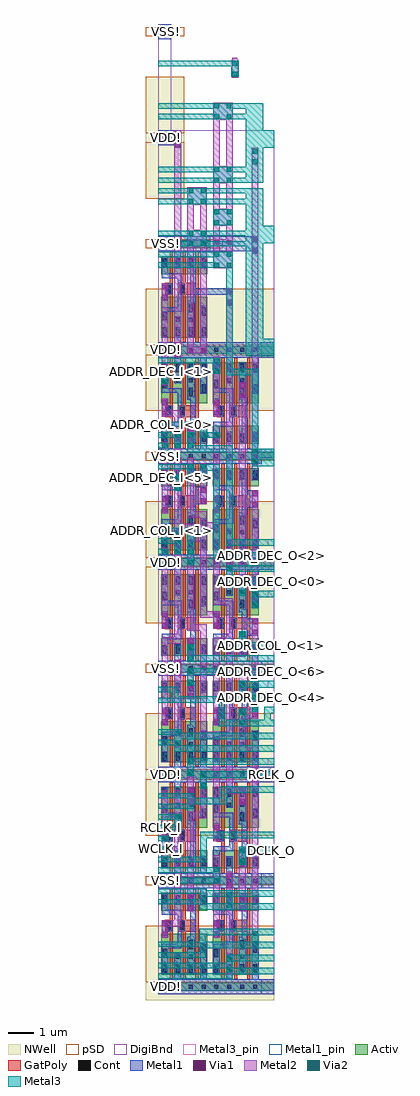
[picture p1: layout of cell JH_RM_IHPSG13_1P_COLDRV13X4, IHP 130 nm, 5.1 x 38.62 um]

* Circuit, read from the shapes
.subckt JH_RM_IHPSG13_1P_COLDRV13X4 ADDR_COL_I<0> ADDR_COL_I<1> ADDR_COL_O<0> ADDR_COL_O<1> ADDR_DEC_I<0> ADDR_DEC_I<1> ADDR_DEC_I<2> ADDR_DEC_I<3> ADDR_DEC_I<4> ADDR_DEC_I<5> ADDR_DEC_I<6> ADDR_DEC_I<7> ADDR_DEC_O<0> ADDR_DEC_O<1> ADDR_DEC_O<2> ADDR_DEC_O<3> ADDR_DEC_O<4> ADDR_DEC_O<5> ADDR_DEC_O<6> ADDR_DEC_O<7> DCLK_I DCLK_O RCLK_I RCLK_O VDD! VSS! WCLK_I WCLK_O
XM1 VSS! RCLK_I n1 VSS! sg13_lv_nmos w=0.705u l=0.13u
XM2 VSS! WCLK_I n2 VSS! sg13_lv_nmos w=0.705u l=0.13u
XM3 VSS! ADDR_DEC_I<6> n3 VSS! sg13_lv_nmos w=0.705u l=0.13u
XM4 VSS! ADDR_DEC_I<7> n4 VSS! sg13_lv_nmos w=0.705u l=0.13u
XM5 VSS! ADDR_DEC_I<2> n5 VSS! sg13_lv_nmos w=0.705u l=0.13u
XM6 VSS! ADDR_DEC_I<3> n6 VSS! sg13_lv_nmos w=0.705u l=0.13u
XM7 VSS! ADDR_DEC_I<1> n7 VSS! sg13_lv_nmos w=0.705u l=0.13u
XM8 RCLK_O n1 VSS! VSS! sg13_lv_nmos w=0.705u l=0.13u m=2
XM9 WCLK_O n2 VSS! VSS! sg13_lv_nmos w=0.705u l=0.13u m=2
XM10 ADDR_DEC_O<6> n3 VSS! VSS! sg13_lv_nmos w=0.705u l=0.13u m=2
XM11 ADDR_DEC_O<7> n4 VSS! VSS! sg13_lv_nmos w=0.705u l=0.13u m=2
XM12 ADDR_DEC_O<2> n5 VSS! VSS! sg13_lv_nmos w=0.705u l=0.13u m=2
XM13 ADDR_DEC_O<3> n6 VSS! VSS! sg13_lv_nmos w=0.705u l=0.13u m=2
XM14 ADDR_DEC_O<1> n7 VSS! VSS! sg13_lv_nmos w=0.705u l=0.13u m=2
XM15 VSS! DCLK_I n8 VSS! sg13_lv_nmos w=0.705u l=0.13u
XM16 VSS! ADDR_COL_I<1> n9 VSS! sg13_lv_nmos w=0.705u l=0.13u
XM17 VSS! ADDR_DEC_I<4> n10 VSS! sg13_lv_nmos w=0.705u l=0.13u
XM18 VSS! ADDR_DEC_I<5> n11 VSS! sg13_lv_nmos w=0.705u l=0.13u
XM19 VSS! ADDR_COL_I<0> n12 VSS! sg13_lv_nmos w=0.705u l=0.13u
XM20 VSS! ADDR_DEC_I<0> n13 VSS! sg13_lv_nmos w=0.705u l=0.13u
XM21 DCLK_O n8 VSS! VSS! sg13_lv_nmos w=0.705u l=0.13u m=2
XM22 ADDR_COL_O<1> n9 VSS! VSS! sg13_lv_nmos w=0.705u l=0.13u m=2
XM23 ADDR_DEC_O<4> n10 VSS! VSS! sg13_lv_nmos w=0.705u l=0.13u m=2
XM24 ADDR_DEC_O<5> n11 VSS! VSS! sg13_lv_nmos w=0.705u l=0.13u m=2
XM25 ADDR_COL_O<0> n12 VSS! VSS! sg13_lv_nmos w=0.705u l=0.13u m=2
XM26 ADDR_DEC_O<0> n13 VSS! VSS! sg13_lv_nmos w=0.705u l=0.13u m=2
XM27 VDD! RCLK_I n1 VDD! sg13_lv_pmos w=1.62u l=0.13u
XM28 VDD! WCLK_I n2 VDD! sg13_lv_pmos w=1.62u l=0.13u
XM29 VDD! ADDR_DEC_I<6> n3 VDD! sg13_lv_pmos w=1.62u l=0.13u
XM30 VDD! ADDR_DEC_I<7> n4 VDD! sg13_lv_pmos w=1.62u l=0.13u
XM31 VDD! ADDR_DEC_I<2> n5 VDD! sg13_lv_pmos w=1.62u l=0.13u
XM32 VDD! ADDR_DEC_I<3> n6 VDD! sg13_lv_pmos w=1.62u l=0.13u
XM33 VDD! ADDR_DEC_I<1> n7 VDD! sg13_lv_pmos w=1.62u l=0.13u
XM34 RCLK_O n1 VDD! VDD! sg13_lv_pmos w=1.62u l=0.13u m=2
XM35 WCLK_O n2 VDD! VDD! sg13_lv_pmos w=1.62u l=0.13u m=2
XM36 ADDR_DEC_O<6> n3 VDD! VDD! sg13_lv_pmos w=1.62u l=0.13u m=2
XM37 ADDR_DEC_O<7> n4 VDD! VDD! sg13_lv_pmos w=1.62u l=0.13u m=2
XM38 ADDR_DEC_O<2> n5 VDD! VDD! sg13_lv_pmos w=1.62u l=0.13u m=2
XM39 ADDR_DEC_O<3> n6 VDD! VDD! sg13_lv_pmos w=1.62u l=0.13u m=2
XM40 ADDR_DEC_O<1> n7 VDD! VDD! sg13_lv_pmos w=1.62u l=0.13u m=2
XM41 VDD! DCLK_I n8 VDD! sg13_lv_pmos w=1.62u l=0.13u
XM42 VDD! ADDR_COL_I<1> n9 VDD! sg13_lv_pmos w=1.62u l=0.13u
XM43 VDD! ADDR_DEC_I<4> n10 VDD! sg13_lv_pmos w=1.62u l=0.13u
XM44 VDD! ADDR_DEC_I<5> n11 VDD! sg13_lv_pmos w=1.62u l=0.13u
XM45 VDD! ADDR_COL_I<0> n12 VDD! sg13_lv_pmos w=1.62u l=0.13u
XM46 VDD! ADDR_DEC_I<0> n13 VDD! sg13_lv_pmos w=1.62u l=0.13u
XM47 DCLK_O n8 VDD! VDD! sg13_lv_pmos w=1.62u l=0.13u m=2
XM48 ADDR_COL_O<1> n9 VDD! VDD! sg13_lv_pmos w=1.62u l=0.13u m=2
XM49 ADDR_DEC_O<4> n10 VDD! VDD! sg13_lv_pmos w=1.62u l=0.13u m=2
XM50 ADDR_DEC_O<5> n11 VDD! VDD! sg13_lv_pmos w=1.62u l=0.13u m=2
XM51 ADDR_COL_O<0> n12 VDD! VDD! sg13_lv_pmos w=1.62u l=0.13u m=2
XM52 ADDR_DEC_O<0> n13 VDD! VDD! sg13_lv_pmos w=1.62u l=0.13u m=2
.ends

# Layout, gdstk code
from math import pi, radians
import gdstk
lib = gdstk.Library(unit=1e-6, precision=1e-09)
def R(c, l, rs):  # rectangles x0, y0, x1, y1
    for r in rs: c.add(gdstk.rectangle(r[:2], r[2:], *l))
def A(c, l, x, y, w, h, nx, ny, dx, dy):  # array of equal rectangles
    R(c, l, [(x+i*dx, y+j*dy, x+i*dx+w, y+j*dy+h) for i in range(nx) for j in range(ny)])
def P(c, l, *ps):  # polygons
    for p in ps: c.add(gdstk.Polygon(p, *l))
Activ = (1, 0)
GatPoly = (5, 0)
Cont = (6, 0)
Metal1 = (8, 0)
Metal1_pin = (8, 2)
Metal2 = (10, 0)
pSD = (14, 0)
DigiBnd = (16, 0)
Via1 = (19, 0)
Via2 = (29, 0)
Metal3 = (30, 0)
Metal3_pin = (30, 2)
NWell = (31, 0)

jh_rsc_ihpsg13_fill1 = lib.new_cell('JH_RSC_IHPSG13_FILL1')
R(jh_rsc_ihpsg13_fill1, Activ, [(0,-0.15,0.51,0.15), (0,4.05,0.51,4.35)])
R(jh_rsc_ihpsg13_fill1, Cont, [(0.175,-0.08,0.335,0.08), (0.175,4.12,0.335,4.28)])
R(jh_rsc_ihpsg13_fill1, Metal1, [(0,-0.3,0.51,0.3), (0,3.9,0.51,4.5)])
R(jh_rsc_ihpsg13_fill1, Metal1_pin, [(0,-0.3,0.51,0.3), (0,3.9,0.51,4.5)])
R(jh_rsc_ihpsg13_fill1, pSD, [(-0.51,-0.18,1.02,0.18), (-0.51,1.785,1.02,4.02)])
R(jh_rsc_ihpsg13_fill1, DigiBnd, [(0,-0.3,0.51,4.5)])
R(jh_rsc_ihpsg13_fill1, NWell, [(-0.51,1.785,1.02,4.725)])
jh_rsc_ihpsg13_fill1.add(gdstk.Label('VSS!', (0.26,0.01), layer=8, texttype=2))
jh_rsc_ihpsg13_fill1.add(gdstk.Label('VDD!', (0.255,4.2), layer=8, texttype=2))

jh_rsc_ihpsg13_cbufx4 = lib.new_cell('JH_RSC_IHPSG13_CBUFX4')
R(jh_rsc_ihpsg13_cbufx4, Activ, [(0,-0.15,2.04,0.15), (0.105,0.49,1.935,1.195), (0.105,2.1,1.935,3.72), (0,4.05,2.04,4.35)])
P(jh_rsc_ihpsg13_cbufx4, GatPoly, [(0.445,0.3),(0.445,1.54),(0.26,1.54),(0.26,2.02),(0.445,2.02),(0.445,3.9),(0.575,3.9),(0.575,0.3)],
  [(0.955,0.3),(0.955,1.54),(0.77,1.54),(0.77,2.02),(0.955,2.02),(0.955,3.9),(1.085,3.9),(1.085,2.02),(1.465,2.02),(1.465,3.9),(1.595,3.9),(1.595,0.3),(1.465,0.3),(1.465,1.54),(1.085,1.54),(1.085,0.3)])
A(jh_rsc_ihpsg13_cbufx4, Cont, 0.175, -0.08, 0.16, 0.16, 4, 2, 0.51, 4.2)
A(jh_rsc_ihpsg13_cbufx4, Cont, 0.175, 0.57, 0.16, 0.34, 4, 2, 0.51, 2.74)
R(jh_rsc_ihpsg13_cbufx4, Cont, [(0.33,1.61,0.49,1.95), (0.84,1.61,1,1.95), (1.195,2.37,1.355,2.71), (1.705,2.51,1.865,2.85), (0.175,2.69,0.335,3.03), (0.685,2.93,0.845,3.09), (1.195,2.93,1.355,3.09)])
R(jh_rsc_ihpsg13_cbufx4, Metal1, [(0.28,1.56,0.54,2)])
P(jh_rsc_ihpsg13_cbufx4, Metal1, [(0.125,0.52),(0.125,1.36),(0.76,1.36),(0.76,2.5),(0.125,2.5),(0.125,3.7),(0.385,3.7),(0.385,2.68),(0.93,2.68),(0.93,2.01),(1.05,2.01),(1.05,1.56),(0.93,1.56),(0.93,1.16),(0.385,1.16),(0.385,0.52)],
  [(1.145,0.52),(1.145,0.96),(1.26,0.96),(1.26,2.23),(1.145,2.23),(1.145,3.7),(1.435,3.7),(1.435,2.34),(1.47,2.34),(1.47,0.52)],
  [(0,-0.3),(0,0.3),(0.635,0.3),(0.635,0.96),(0.895,0.96),(0.895,0.3),(1.655,0.3),(1.655,0.96),(1.915,0.96),(1.915,0.3),(2.04,0.3),(2.04,-0.3)],
  [(1.655,2.46),(1.655,3.9),(0.895,3.9),(0.895,2.88),(0.635,2.88),(0.635,3.9),(0,3.9),(0,4.5),(2.04,4.5),(2.04,3.9),(1.92,3.9),(1.92,2.46)])
R(jh_rsc_ihpsg13_cbufx4, Metal1_pin, [(0,-0.3,2.04,0.3), (1.26,0.52,1.47,2.34), (0.28,1.56,0.54,2), (0,3.9,2.04,4.5)])
R(jh_rsc_ihpsg13_cbufx4, pSD, [(-0.51,-0.18,2.55,0.18), (-0.51,1.785,2.55,4.02)])
R(jh_rsc_ihpsg13_cbufx4, DigiBnd, [(0,-0.3,2.04,4.5)])
R(jh_rsc_ihpsg13_cbufx4, NWell, [(-0.51,1.785,2.55,4.725)])
jh_rsc_ihpsg13_cbufx4.add(gdstk.Label('A', (0.41,1.77), layer=8, texttype=2))
jh_rsc_ihpsg13_cbufx4.add(gdstk.Label('Z', (1.365,1.995), layer=8, texttype=2))
jh_rsc_ihpsg13_cbufx4.add(gdstk.Label('VSS!', (1.155,0.005), layer=8, texttype=2))
jh_rsc_ihpsg13_cbufx4.add(gdstk.Label('VDD!', (0.84,4.2), layer=8, texttype=2))

jh_m2_m1_cdns_7564811692 = lib.new_cell('JH_M2_M1_CDNS_756481169253')
R(jh_m2_m1_cdns_7564811692, Metal1, [(-0.35,-0.13,0.35,0.13)])
R(jh_m2_m1_cdns_7564811692, Metal2, [(-0.35,-0.13,0.35,0.13)])
R(jh_m2_m1_cdns_7564811692, Via1, [(-0.3,-0.095,-0.11,0.095), (0.11,-0.095,0.3,0.095)])

c_jh_m2_m1_cdns_7564811692 = lib.new_cell('JH_M2_M1_CDNS_756481169250')
R(c_jh_m2_m1_cdns_7564811692, Metal1, [(-0.385,-0.13,0.385,0.13)])
R(c_jh_m2_m1_cdns_7564811692, Metal2, [(-0.385,-0.13,0.385,0.13)])
R(c_jh_m2_m1_cdns_7564811692, Via1, [(-0.335,-0.095,-0.145,0.095), (0.145,-0.095,0.335,0.095)])

jh_viagen23_cdns_7564811 = lib.new_cell('JH_viagen23_CDNS_756481169251')
R(jh_viagen23_cdns_7564811, Metal2, [(-0.385,-0.34,0.385,0.34)])
R(jh_viagen23_cdns_7564811, Via2, [(-0.335,-0.305,-0.145,-0.115), (0.145,-0.305,0.335,-0.115), (-0.335,0.115,-0.145,0.305), (0.145,0.115,0.335,0.305)])
R(jh_viagen23_cdns_7564811, Metal3, [(-0.385,-0.315,0.385,0.315)])

jh_m3_m2_cdns_7564811692 = lib.new_cell('JH_M3_M2_CDNS_7564811692512')
R(jh_m3_m2_cdns_7564811692, Metal2, [(-0.35,-0.13,0.35,0.13)])
R(jh_m3_m2_cdns_7564811692, Via2, [(-0.3,-0.095,-0.11,0.095), (0.11,-0.095,0.3,0.095)])
R(jh_m3_m2_cdns_7564811692, Metal3, [(-0.35,-0.13,0.35,0.13)])

c_jh_m3_m2_cdns_7564811692 = lib.new_cell('JH_M3_M2_CDNS_7564811692513')
R(c_jh_m3_m2_cdns_7564811692, Metal2, [(-0.385,-0.13,0.385,0.13)])
R(c_jh_m3_m2_cdns_7564811692, Via2, [(-0.3,-0.095,-0.11,0.095), (0.11,-0.095,0.3,0.095)])
R(c_jh_m3_m2_cdns_7564811692, Metal3, [(-0.385,-0.13,0.385,0.13)])

c_jh_viagen23_cdns_7564811 = lib.new_cell('JH_viagen23_CDNS_7564811692514')
R(c_jh_viagen23_cdns_7564811, Metal2, [(-0.105,-0.35,0.105,0.35)])
R(c_jh_viagen23_cdns_7564811, Via2, [(-0.095,-0.3,0.095,-0.11), (-0.095,0.11,0.095,0.3)])
R(c_jh_viagen23_cdns_7564811, Metal3, [(-0.105,-0.35,0.105,0.35)])

c_jh_m3_m2_cdns_7564811692_ = lib.new_cell('JH_M3_M2_CDNS_7564811692515')
R(c_jh_m3_m2_cdns_7564811692_, Metal2, [(-0.355,-0.13,0.355,0.13)])
R(c_jh_m3_m2_cdns_7564811692_, Via2, [(-0.305,-0.095,-0.115,0.095), (0.115,-0.095,0.305,0.095)])
R(c_jh_m3_m2_cdns_7564811692_, Metal3, [(-0.315,-0.145,0.315,0.145)])

jh_rm_ihpsg13_1p_coldrv1 = lib.new_cell('JH_RM_IHPSG13_1P_COLDRV13X4')
A(jh_rm_ihpsg13_1p_coldrv1, Activ, 4.08, -37.95, 0.51, 0.3, 1, 7, 0, 4.2)
A(jh_rm_ihpsg13_1p_coldrv1, Metal1, 4.08, -38.1, 0.51, 0.6, 1, 4, 0, 4.2)
R(jh_rm_ihpsg13_1p_coldrv1, Metal1, [(3.51,-27.19,3.695,-26.49), (3.51,-23.91,3.695,-23.21), (4.075,-21.3,4.59,-20.7), (3.51,-18.85,3.955,-18.15), (1.47,-18.71,1.655,-18.01), (4.075,-16.86,4.59,-16.5), (4.08,-12.9,4.59,-12.3), (1.47,-10.41,2.935,-10.16), (2.04,-8.7,3.955,-8.1), (0,-4.5,0.895,-3.9)])
A(jh_rm_ihpsg13_1p_coldrv1, Metal1_pin, 0, -38.1, 0.6, 0.6, 1, 9, 0, 4.2)
R(jh_rm_ihpsg13_1p_coldrv1, Metal1_pin, [(0,-0.3,0.51,0.3)])
R(jh_rm_ihpsg13_1p_coldrv1, Metal2, [(2.675,-37.3,2.935,-33.585), (2.165,-35.86,2.425,-32.595), (3.185,-34.82,3.445,-32.27), (2.675,-34.75,2.935,-33.25), (0.125,-32.04,0.385,-30.03), (1.145,-30.6,1.405,-28.76), (0.635,-28.315,0.895,-25.55), (3.695,-27.19,3.955,-26.21), (1.145,-26.42,1.405,-25.19), (1.145,-24.94,1.405,-23.98), (0.125,-23.64,0.385,-20.435), (3.695,-22.83,3.955,-18.15), (3.185,-22.32,3.445,-13.87), (2.675,-21.81,2.935,-10.16), (0.125,-19.06,0.385,-16.485), (1.655,-18.71,1.915,-17.075), (3.695,-17.15,3.955,-4.6), (1.145,-16.525,1.405,-15.58), (2.165,-15.24,2.425,-12.875), (0.125,-14.005,0.385,-9.96), (1.145,-12.73,1.405,-6.17), (1.655,-12.73,1.915,-6.17), (0.635,-12.25,0.895,-3.9), (2.165,-9.37,2.425,-2.81), (2.675,-9.37,2.935,-2.81), (2.925,-1.365,3.125,-1.035)])
P(jh_rm_ihpsg13_1p_coldrv1, Metal2, [(0.635,-16.525),(0.635,-15.24),(0.125,-15.24),(0.125,-14.54),(0.385,-14.54),(0.385,-14.99),(0.895,-14.99),(0.895,-16.525)],
  [(0.125,-27.46),(0.125,-23.965),(0.635,-23.965),(0.635,-20.015),(0.895,-20.015),(0.895,-24.225),(0.385,-24.225),(0.385,-27.46)],
  [(0.125,-35.42),(0.125,-35.16),(0.635,-35.16),(0.635,-30.03),(0.895,-30.03),(0.895,-35.42)],
  [(1.145,-34.82),(1.145,-30.88),(1.655,-30.88),(1.655,-29.27),(1.915,-29.27),(1.915,-31.14),(1.405,-31.14),(1.405,-34.82)],
  [(2.165,-23.64),(2.165,-23.2),(1.655,-23.2),(1.655,-20.185),(1.145,-20.185),(1.145,-19.745),(0.635,-19.745),(0.635,-16.86),(0.895,-16.86),(0.895,-19.485),(1.405,-19.485),(1.405,-19.925),(1.915,-19.925),(1.915,-22.94),(2.425,-22.94),(2.425,-23.64)],
  [(2.165,-32.04),(2.165,-27.97),(1.655,-27.97),(1.655,-23.71),(1.145,-23.71),(1.145,-20.435),(1.405,-20.435),(1.405,-23.45),(1.915,-23.45),(1.915,-27.71),(2.425,-27.71),(2.425,-32.04)],
  [(2.165,-19.06),(2.165,-16.065),(1.74,-16.065),(1.74,-15.855),(2.44,-15.855),(2.44,-16.065),(2.425,-16.065),(2.425,-19.06)],
  [(2.165,-27.46),(2.165,-23.98),(2.675,-23.98),(2.675,-22.69),(2.165,-22.69),(2.165,-19.675),(1.655,-19.675),(1.655,-19.235),(1.145,-19.235),(1.145,-16.86),(1.405,-16.86),(1.405,-18.975),(1.915,-18.975),(1.915,-19.415),(2.425,-19.415),(2.425,-22.43),(2.935,-22.43),(2.935,-24.24),(2.425,-24.24),(2.425,-27.46)],
  [(3.695,-36.28),(3.695,-28.51),(3.185,-28.51),(3.185,-27.49),(3.445,-27.49),(3.445,-28.25),(3.955,-28.25),(3.955,-36.28)],
  [(3.185,-25.705),(3.185,-25.445),(3.695,-25.445),(3.695,-23.21),(3.955,-23.21),(3.955,-25.705)],
  [(2.675,-30.16),(2.675,-24.49),(3.185,-24.49),(3.185,-23.73),(3.445,-23.73),(3.445,-24.75),(2.935,-24.75),(2.935,-29.9),(3.185,-29.9),(3.185,-30.16)])
R(jh_rm_ihpsg13_1p_coldrv1, pSD, [(2.55,-12.42,4.59,-10.185)])
R(jh_rm_ihpsg13_1p_coldrv1, DigiBnd, [(0,-38.1,4.59,-3.9)])
R(jh_rm_ihpsg13_1p_coldrv1, Metal3, [(0,-33.705,2.425,-33.495), (0,-33.285,2.425,-33.075), (3.185,-32.53,4.59,-32.27), (0,-32.445,0.385,-32.235), (0,-32.025,0.385,-31.815), (0,-31.605,0.895,-31.395), (0,-31.185,0.895,-30.975), (1.655,-29.53,4.59,-29.27), (1.145,-29.02,4.59,-28.76), (3.695,-26.47,4.59,-26.21), (3.185,-25.96,4.59,-25.7), (1.145,-25.45,4.59,-25.19), (1.145,-24.94,4.59,-24.68), (3.185,-24.43,4.59,-24.17), (3.695,-22.39,4.59,-22.13), (3.185,-21.88,4.59,-21.62), (2.675,-21.37,4.59,-21.11), (0,-20.685,0.385,-20.475), (0,-20.265,0.895,-20.055), (0,-17.745,0.895,-17.535), (0,-17.325,1.405,-17.115), (0,-16.485,0.385,-16.275), (0,-16.065,0.91,-15.855), (0,-13.545,0.385,-13.335), (0,-13.125,2.425,-12.915), (0,-1.365,3.125,-1.155)])
P(jh_rm_ihpsg13_1p_coldrv1, Metal3, [(1.13,-20.475),(1.13,-19.845),(0,-19.845),(0,-19.635),(1.42,-19.635),(1.42,-20.475)],
  [(1.64,-16.065),(1.64,-15.645),(0,-15.645),(0,-15.435),(1.93,-15.435),(1.93,-16.065)],
  [(0,-5.985),(0,-5.775),(3.45,-5.775),(3.45,-5.565),(0,-5.565),(0,-5.355),(3.45,-5.355),(3.45,-3.465),(0,-3.465),(0,-3.255),(3.45,-3.255),(3.45,-3.045),(0,-3.045),(0,-2.835),(4.15,-2.835),(4.15,-3.9),(4.59,-3.9),(4.59,-4.6),(4.15,-4.6),(4.15,-5.985)],
  [(3.45,-12.855),(3.45,-8.505),(0,-8.505),(0,-8.295),(3.45,-8.295),(3.45,-8.085),(0,-8.085),(0,-7.875),(3.45,-7.875),(3.45,-6.825),(0,-6.825),(0,-6.615),(3.45,-6.615),(3.45,-6.405),(0,-6.405),(0,-6.195),(4.15,-6.195),(4.15,-7.675),(4.59,-7.675),(4.59,-8.375),(4.15,-8.375),(4.15,-12.155),(4.59,-12.155),(4.59,-12.855)],
  [(3.695,-17.2),(3.695,-13.61),(2.675,-13.61),(2.675,-9.345),(0,-9.345),(0,-9.135),(2.165,-9.135),(2.165,-8.925),(0,-8.925),(0,-8.715),(2.675,-8.715),(2.675,-8.925),(2.425,-8.925),(2.425,-9.135),(2.675,-9.135),(2.675,-8.715),(2.935,-8.715),(2.935,-13.35),(3.955,-13.35),(3.955,-16.5),(4.59,-16.5),(4.59,-17.2)],
  [(2.675,-20.35),(2.675,-16.64),(1.13,-16.64),(1.13,-16.485),(1.42,-16.485),(1.42,-16.38),(2.935,-16.38),(2.935,-20.09),(4.59,-20.09),(4.59,-20.35)],
  [(2.165,-20.86),(2.165,-17.375),(1.64,-17.375),(1.64,-17.115),(2.425,-17.115),(2.425,-20.6),(4.59,-20.6),(4.59,-20.86)],
  [(2.385,-27.49),(2.385,-26.565),(0,-26.565),(0,-26.355),(0.515,-26.355),(0.515,-26.145),(0,-26.145),(0,-25.935),(0.775,-25.935),(0.775,-26.305),(2.645,-26.305),(2.645,-27.23),(4.18,-27.23),(4.18,-26.72),(4.59,-26.72),(4.59,-26.98),(4.44,-26.98),(4.44,-27.23),(4.59,-27.23),(4.59,-27.49)],
  [(0.635,-28.51),(0.635,-28.245),(0,-28.245),(0,-28.035),(0.635,-28.035),(0.635,-27.825),(0,-27.825),(0,-27.615),(0.895,-27.615),(0.895,-27.74),(4.59,-27.74),(4.59,-28),(0.895,-28),(0.895,-28.25),(4.59,-28.25),(4.59,-28.51)],
  [(0,-36.645),(0,-36.435),(1.61,-36.435),(1.61,-36.225),(0,-36.225),(0,-36.015),(1.61,-36.015),(1.61,-35.51),(4.59,-35.51),(4.59,-35.77),(1.87,-35.77),(1.87,-36.02),(4.59,-36.02),(4.59,-36.28),(1.87,-36.28),(1.87,-36.645)],
  [(1.61,-34.75),(1.61,-34.545),(0,-34.545),(0,-34.335),(1.61,-34.335),(1.61,-34.125),(0,-34.125),(0,-33.915),(1.87,-33.915),(1.87,-33.98),(4.59,-33.98),(4.59,-34.24),(1.87,-34.24),(1.87,-34.49),(4.59,-34.49),(4.59,-34.75)],
  [(0,-32.865),(0,-32.655),(1.655,-32.655),(1.655,-31.67),(4.59,-31.67),(4.59,-31.93),(1.915,-31.93),(1.915,-32.865)],
  [(0,-30.765),(0,-30.555),(1.145,-30.555),(1.145,-30.345),(0,-30.345),(0,-30.135),(1.405,-30.135),(1.405,-30.32),(2.465,-30.32),(2.465,-29.87),(4.59,-29.87),(4.59,-30.13),(2.725,-30.13),(2.725,-30.58),(1.405,-30.58),(1.405,-30.765)],
  [(0,-37.485),(0,-37.275),(2.675,-37.275),(2.675,-37.065),(0,-37.065),(0,-36.855),(2.675,-36.855),(2.675,-36.53),(4.59,-36.53),(4.59,-36.79),(2.935,-36.79),(2.935,-37.04),(4.59,-37.04),(4.59,-37.3),(2.935,-37.3),(2.935,-37.485)])
A(jh_rm_ihpsg13_1p_coldrv1, Metal3_pin, 4.33, -26.47, 0.26, 0.26, 1, 5, 0, 0.51)
A(jh_rm_ihpsg13_1p_coldrv1, Metal3_pin, 4.33, -22.39, 0.26, 0.26, 1, 5, 0, 0.51)
A(jh_rm_ihpsg13_1p_coldrv1, Metal3_pin, 0, -20.685, 0.26, 0.21, 1, 3, 0, 0.42)
A(jh_rm_ihpsg13_1p_coldrv1, Metal3_pin, 0, -16.485, 0.26, 0.21, 1, 3, 0, 0.42)
R(jh_rm_ihpsg13_1p_coldrv1, Metal3_pin, [(0,-33.705,0.26,-33.495), (4.33,-32.53,4.59,-32.27), (0,-32.445,0.26,-32.235), (0,-31.605,0.26,-31.395), (4.33,-29.53,4.59,-29.27), (4.33,-29.02,4.59,-28.76), (0,-17.745,0.26,-17.535), (0,-17.325,0.26,-17.115), (0,-13.545,0.26,-13.335), (0,-13.125,0.26,-12.915)])
R(jh_rm_ihpsg13_1p_coldrv1, NWell, [(2.55,-12.075,4.59,-10.185)])
r = gdstk.Reference(jh_rsc_ihpsg13_fill1, (0,0), x_reflection=True); r.repetition = gdstk.Repetition(1, 1, v1=(0,0), v2=(0,0)); jh_rm_ihpsg13_1p_coldrv1.add(r)
r = gdstk.Reference(jh_rsc_ihpsg13_fill1, (0,-8.4)); r.repetition = gdstk.Repetition(1, 1, v1=(0,0), v2=(0,0)); jh_rm_ihpsg13_1p_coldrv1.add(r)
r = gdstk.Reference(jh_rsc_ihpsg13_cbufx4, (0,-16.8), x_reflection=True); r.repetition = gdstk.Repetition(2, 3, v1=(2.04,0), v2=(0,-8.4)); jh_rm_ihpsg13_1p_coldrv1.add(r)
r = gdstk.Reference(jh_rsc_ihpsg13_cbufx4, (0,-8.4), x_reflection=True); r.repetition = gdstk.Repetition(1, 1, v1=(0,0), v2=(0,0)); jh_rm_ihpsg13_1p_coldrv1.add(r)
r = gdstk.Reference(jh_rsc_ihpsg13_cbufx4, (0,-33.6)); r.repetition = gdstk.Repetition(2, 3, v1=(2.04,0), v2=(0,8.4)); jh_rm_ihpsg13_1p_coldrv1.add(r)
jh_rm_ihpsg13_1p_coldrv1.add(gdstk.Reference(jh_m2_m1_cdns_7564811692, (3.825,-23.56), rotation=3*pi/2, x_reflection=True))
jh_rm_ihpsg13_1p_coldrv1.add(gdstk.Reference(jh_m2_m1_cdns_7564811692, (1.275,-34.47), rotation=pi/2))
jh_rm_ihpsg13_1p_coldrv1.add(gdstk.Reference(jh_m2_m1_cdns_7564811692, (1.275,-30.25), rotation=pi/2))
jh_rm_ihpsg13_1p_coldrv1.add(gdstk.Reference(jh_m2_m1_cdns_7564811692, (3.315,-30.25), rotation=pi/2))
jh_rm_ihpsg13_1p_coldrv1.add(gdstk.Reference(jh_m2_m1_cdns_7564811692, (3.825,-26.84), rotation=pi/2))
jh_rm_ihpsg13_1p_coldrv1.add(gdstk.Reference(jh_m2_m1_cdns_7564811692, (1.275,-26.07), rotation=pi/2))
jh_rm_ihpsg13_1p_coldrv1.add(gdstk.Reference(jh_m2_m1_cdns_7564811692, (1.275,-24.33), rotation=pi/2))
jh_rm_ihpsg13_1p_coldrv1.add(gdstk.Reference(jh_m2_m1_cdns_7564811692, (3.315,-14.22), rotation=pi/2))
jh_rm_ihpsg13_1p_coldrv1.add(gdstk.Reference(jh_m2_m1_cdns_7564811692, (1.275,-15.93), rotation=pi/2))
jh_rm_ihpsg13_1p_coldrv1.add(gdstk.Reference(jh_m2_m1_cdns_7564811692, (3.825,-18.5), rotation=pi/2))
jh_rm_ihpsg13_1p_coldrv1.add(gdstk.Reference(jh_m2_m1_cdns_7564811692, (2.805,-10.51), rotation=pi/2))
jh_rm_ihpsg13_1p_coldrv1.add(gdstk.Reference(jh_m2_m1_cdns_7564811692, (3.315,-34.47), rotation=pi/2))
jh_rm_ihpsg13_1p_coldrv1.add(gdstk.Reference(jh_m2_m1_cdns_7564811692, (2.295,-14.89), rotation=pi/2))
jh_rm_ihpsg13_1p_coldrv1.add(gdstk.Reference(jh_m2_m1_cdns_7564811692, (0.255,-18.71), rotation=pi/2))
jh_rm_ihpsg13_1p_coldrv1.add(gdstk.Reference(jh_m2_m1_cdns_7564811692, (2.295,-18.71), rotation=pi/2))
jh_rm_ihpsg13_1p_coldrv1.add(gdstk.Reference(jh_m2_m1_cdns_7564811692, (2.295,-23.29), rotation=pi/2))
jh_rm_ihpsg13_1p_coldrv1.add(gdstk.Reference(jh_m2_m1_cdns_7564811692, (1.785,-18.36), rotation=pi/2))
jh_rm_ihpsg13_1p_coldrv1.add(gdstk.Reference(jh_m2_m1_cdns_7564811692, (0.255,-23.29), rotation=pi/2))
jh_rm_ihpsg13_1p_coldrv1.add(gdstk.Reference(jh_m2_m1_cdns_7564811692, (0.255,-27.11), rotation=pi/2))
jh_rm_ihpsg13_1p_coldrv1.add(gdstk.Reference(jh_m2_m1_cdns_7564811692, (2.295,-27.11), rotation=pi/2))
jh_rm_ihpsg13_1p_coldrv1.add(gdstk.Reference(jh_m2_m1_cdns_7564811692, (2.295,-31.69), rotation=pi/2))
jh_rm_ihpsg13_1p_coldrv1.add(gdstk.Reference(jh_m2_m1_cdns_7564811692, (0.255,-10.31), rotation=pi/2))
jh_rm_ihpsg13_1p_coldrv1.add(gdstk.Reference(jh_m2_m1_cdns_7564811692, (0.255,-35.51), rotation=pi/2))
jh_rm_ihpsg13_1p_coldrv1.add(gdstk.Reference(jh_m2_m1_cdns_7564811692, (0.255,-31.69), rotation=pi/2))
jh_rm_ihpsg13_1p_coldrv1.add(gdstk.Reference(jh_m2_m1_cdns_7564811692, (2.805,-33.6), rotation=pi/2))
jh_rm_ihpsg13_1p_coldrv1.add(gdstk.Reference(jh_m2_m1_cdns_7564811692, (3.825,-29.4), rotation=pi/2))
jh_rm_ihpsg13_1p_coldrv1.add(gdstk.Reference(jh_m2_m1_cdns_7564811692, (3.825,-16.8), rotation=pi/2))
jh_rm_ihpsg13_1p_coldrv1.add(gdstk.Reference(jh_m2_m1_cdns_7564811692, (3.825,-8.45), rotation=pi/2))
jh_rm_ihpsg13_1p_coldrv1.add(gdstk.Reference(jh_m2_m1_cdns_7564811692, (0.765,-12.6), rotation=pi/2))
jh_rm_ihpsg13_1p_coldrv1.add(gdstk.Reference(jh_m2_m1_cdns_7564811692, (0.765,-4.25), rotation=pi/2))
jh_rm_ihpsg13_1p_coldrv1.add(gdstk.Reference(jh_m2_m1_cdns_7564811692, (0.765,-25.2), rotation=pi/2))
jh_rm_ihpsg13_1p_coldrv1.add(gdstk.Reference(jh_m2_m1_cdns_7564811692, (0.255,-14.89), rotation=pi/2))
jh_rm_ihpsg13_1p_coldrv1.add(gdstk.Reference(jh_m2_m1_cdns_7564811692, (2.295,-35.51), rotation=pi/2))
jh_rm_ihpsg13_1p_coldrv1.add(gdstk.Reference(c_jh_m2_m1_cdns_7564811692, (1.53,-12.6), x_reflection=True))
jh_rm_ihpsg13_1p_coldrv1.add(gdstk.Reference(c_jh_m2_m1_cdns_7564811692, (2.55,-8.35), x_reflection=True))
jh_rm_ihpsg13_1p_coldrv1.add(gdstk.Reference(jh_viagen23_cdns_7564811, (1.53,-8.19)))
jh_rm_ihpsg13_1p_coldrv1.add(gdstk.Reference(jh_viagen23_cdns_7564811, (2.55,-5.67)))
jh_rm_ihpsg13_1p_coldrv1.add(gdstk.Reference(jh_viagen23_cdns_7564811, (2.55,-7.35)))
jh_rm_ihpsg13_1p_coldrv1.add(gdstk.Reference(jh_viagen23_cdns_7564811, (2.55,-9.03)))
jh_rm_ihpsg13_1p_coldrv1.add(gdstk.Reference(jh_viagen23_cdns_7564811, (2.55,-3.15)))
jh_rm_ihpsg13_1p_coldrv1.add(gdstk.Reference(jh_viagen23_cdns_7564811, (1.53,-6.51)))
jh_rm_ihpsg13_1p_coldrv1.add(gdstk.Reference(jh_m3_m2_cdns_7564811692, (3.315,-32.62), rotation=pi/2))
jh_rm_ihpsg13_1p_coldrv1.add(gdstk.Reference(jh_m3_m2_cdns_7564811692, (3.825,-22.48), rotation=pi/2))
jh_rm_ihpsg13_1p_coldrv1.add(gdstk.Reference(jh_m3_m2_cdns_7564811692, (3.315,-21.97), rotation=pi/2))
jh_rm_ihpsg13_1p_coldrv1.add(gdstk.Reference(jh_m3_m2_cdns_7564811692, (2.805,-21.46), rotation=pi/2))
jh_rm_ihpsg13_1p_coldrv1.add(gdstk.Reference(jh_m3_m2_cdns_7564811692, (3.315,-24.08), rotation=pi/2))
jh_rm_ihpsg13_1p_coldrv1.add(gdstk.Reference(jh_m3_m2_cdns_7564811692, (1.275,-24.59), rotation=pi/2))
jh_rm_ihpsg13_1p_coldrv1.add(gdstk.Reference(jh_m3_m2_cdns_7564811692, (1.275,-25.54), rotation=pi/2))
jh_rm_ihpsg13_1p_coldrv1.add(gdstk.Reference(jh_m3_m2_cdns_7564811692, (3.315,-26.05), rotation=pi/2))
jh_rm_ihpsg13_1p_coldrv1.add(gdstk.Reference(jh_m3_m2_cdns_7564811692, (1.275,-29.11), rotation=pi/2))
jh_rm_ihpsg13_1p_coldrv1.add(gdstk.Reference(jh_m3_m2_cdns_7564811692, (1.785,-29.62), rotation=pi/2))
jh_rm_ihpsg13_1p_coldrv1.add(gdstk.Reference(jh_m3_m2_cdns_7564811692, (0.765,-27.965), rotation=pi/2))
jh_rm_ihpsg13_1p_coldrv1.add(gdstk.Reference(jh_m3_m2_cdns_7564811692, (3.315,-27.14), rotation=pi/2))
jh_rm_ihpsg13_1p_coldrv1.add(gdstk.Reference(jh_m3_m2_cdns_7564811692, (3.825,-16.8), rotation=pi/2))
jh_rm_ihpsg13_1p_coldrv1.add(gdstk.Reference(jh_m3_m2_cdns_7564811692, (3.825,-4.95), rotation=pi/2))
jh_rm_ihpsg13_1p_coldrv1.add(gdstk.Reference(jh_m3_m2_cdns_7564811692, (3.825,-26.56), rotation=pi/2))
jh_rm_ihpsg13_1p_coldrv1.add(gdstk.Reference(c_jh_m3_m2_cdns_7564811692, (2.805,-36.915), rotation=pi/2))
jh_rm_ihpsg13_1p_coldrv1.add(gdstk.Reference(c_jh_m3_m2_cdns_7564811692, (2.805,-34.365), rotation=pi/2))
jh_rm_ihpsg13_1p_coldrv1.add(gdstk.Reference(c_jh_m3_m2_cdns_7564811692, (3.825,-35.895), rotation=pi/2))
jh_rm_ihpsg13_1p_coldrv1.add(gdstk.Reference(c_jh_viagen23_cdns_7564811, (2.09,-15.96), rotation=pi/2))
jh_rm_ihpsg13_1p_coldrv1.add(gdstk.Reference(c_jh_m3_m2_cdns_7564811692_, (3.025,-1.47), rotation=pi/2))
jh_rm_ihpsg13_1p_coldrv1.add(gdstk.Reference(c_jh_m3_m2_cdns_7564811692_, (2.295,-33.39), rotation=pi/2))
jh_rm_ihpsg13_1p_coldrv1.add(gdstk.Reference(c_jh_m3_m2_cdns_7564811692_, (0.765,-31.29), rotation=pi/2))
jh_rm_ihpsg13_1p_coldrv1.add(gdstk.Reference(c_jh_m3_m2_cdns_7564811692_, (0.255,-32.13), rotation=pi/2))
jh_rm_ihpsg13_1p_coldrv1.add(gdstk.Reference(c_jh_m3_m2_cdns_7564811692_, (0.765,-17.85), rotation=pi/2))
jh_rm_ihpsg13_1p_coldrv1.add(gdstk.Reference(c_jh_m3_m2_cdns_7564811692_, (0.765,-20.37), rotation=pi/2))
jh_rm_ihpsg13_1p_coldrv1.add(gdstk.Reference(c_jh_m3_m2_cdns_7564811692_, (0.255,-13.65), rotation=pi/2))
jh_rm_ihpsg13_1p_coldrv1.add(gdstk.Reference(c_jh_m3_m2_cdns_7564811692_, (2.295,-13.23), rotation=pi/2))
jh_rm_ihpsg13_1p_coldrv1.add(gdstk.Reference(c_jh_m3_m2_cdns_7564811692_, (0.255,-16.59), rotation=pi/2))
jh_rm_ihpsg13_1p_coldrv1.add(gdstk.Reference(c_jh_m3_m2_cdns_7564811692_, (0.765,-16.17), rotation=pi/2))
jh_rm_ihpsg13_1p_coldrv1.add(gdstk.Reference(c_jh_m3_m2_cdns_7564811692_, (0.255,-20.79), rotation=pi/2))
jh_rm_ihpsg13_1p_coldrv1.add(gdstk.Reference(c_jh_m3_m2_cdns_7564811692_, (1.785,-17.43), rotation=pi/2))
jh_rm_ihpsg13_1p_coldrv1.add(gdstk.Reference(c_jh_m3_m2_cdns_7564811692_, (1.275,-16.17), rotation=pi/2))
jh_rm_ihpsg13_1p_coldrv1.add(gdstk.Reference(c_jh_m3_m2_cdns_7564811692_, (1.275,-20.79), rotation=pi/2))
jh_rm_ihpsg13_1p_coldrv1.add(gdstk.Reference(c_jh_m3_m2_cdns_7564811692_, (1.275,-17.43), rotation=pi/2))
jh_rm_ihpsg13_1p_coldrv1.add(gdstk.Label('VSS!', (0.3,-16.8), layer=8, texttype=25))
jh_rm_ihpsg13_1p_coldrv1.add(gdstk.Label('VDD!', (0.3,-37.8), layer=8, texttype=25))
jh_rm_ihpsg13_1p_coldrv1.add(gdstk.Label('VDD!', (0.3,-29.4), layer=8, texttype=25))
jh_rm_ihpsg13_1p_coldrv1.add(gdstk.Label('VSS!', (0.3,-33.6), layer=8, texttype=25))
jh_rm_ihpsg13_1p_coldrv1.add(gdstk.Label('VSS!', (0.3,-25.2), layer=8, texttype=25))
jh_rm_ihpsg13_1p_coldrv1.add(gdstk.Label('VDD!', (0.3,-12.6), layer=8, texttype=25))
jh_rm_ihpsg13_1p_coldrv1.add(gdstk.Label('VSS!', (0.3,-8.4), layer=8, texttype=25))
jh_rm_ihpsg13_1p_coldrv1.add(gdstk.Label('VDD!', (0.3,-21), layer=8, texttype=25))
jh_rm_ihpsg13_1p_coldrv1.add(gdstk.Label('VSS!', (0.3,0), layer=8, texttype=25))
jh_rm_ihpsg13_1p_coldrv1.add(gdstk.Label('VDD!', (0.3,-4.2), layer=8, texttype=25))
jh_rm_ihpsg13_1p_coldrv1.add(gdstk.Label('RCLK_I', (0.13,-31.5), layer=30, texttype=25))
jh_rm_ihpsg13_1p_coldrv1.add(gdstk.Label('DCLK_I', (0.13,-33.6), layer=30, texttype=25))
jh_rm_ihpsg13_1p_coldrv1.add(gdstk.Label('ADDR_DEC_O<2>', (4.47,-20.73), layer=30, texttype=25))
jh_rm_ihpsg13_1p_coldrv1.add(gdstk.Label('ADDR_DEC_O<0>', (4.47,-21.75), layer=30, texttype=25))
jh_rm_ihpsg13_1p_coldrv1.add(gdstk.Label('ADDR_DEC_O<1>', (4.47,-21.24), layer=30, texttype=25))
jh_rm_ihpsg13_1p_coldrv1.add(gdstk.Label('ADDR_DEC_I<7>', (0.14,-20.58), layer=30, texttype=25))
jh_rm_ihpsg13_1p_coldrv1.add(gdstk.Label('ADDR_DEC_I<0>', (0.14,-13.02), layer=30, texttype=25))
jh_rm_ihpsg13_1p_coldrv1.add(gdstk.Label('ADDR_DEC_I<4>', (0.14,-17.22), layer=30, texttype=25))
jh_rm_ihpsg13_1p_coldrv1.add(gdstk.Label('ADDR_DEC_I<2>', (0.14,-16.38), layer=30, texttype=25))
jh_rm_ihpsg13_1p_coldrv1.add(gdstk.Label('ADDR_COL_I<0>', (0.14,-15.54), layer=30, texttype=25))
jh_rm_ihpsg13_1p_coldrv1.add(gdstk.Label('ADDR_COL_I<1>', (0.135,-19.74), layer=30, texttype=25))
jh_rm_ihpsg13_1p_coldrv1.add(gdstk.Label('ADDR_DEC_I<3>', (0.14,-15.96), layer=30, texttype=25))
jh_rm_ihpsg13_1p_coldrv1.add(gdstk.Label('ADDR_DEC_I<1>', (0.14,-13.44), layer=30, texttype=25))
jh_rm_ihpsg13_1p_coldrv1.add(gdstk.Label('ADDR_DEC_I<5>', (0.14,-17.64), layer=30, texttype=25))
jh_rm_ihpsg13_1p_coldrv1.add(gdstk.Label('ADDR_DEC_I<6>', (0.14,-20.16), layer=30, texttype=25))
jh_rm_ihpsg13_1p_coldrv1.add(gdstk.Label('WCLK_I', (0.13,-32.34), layer=30, texttype=25))
jh_rm_ihpsg13_1p_coldrv1.add(gdstk.Label('ADDR_DEC_O<3>', (4.47,-20.22), layer=30, texttype=25))
jh_rm_ihpsg13_1p_coldrv1.add(gdstk.Label('ADDR_COL_O<1>', (4.465,-24.3), layer=30, texttype=25))
jh_rm_ihpsg13_1p_coldrv1.add(gdstk.Label('ADDR_COL_O<0>', (4.47,-22.26), layer=30, texttype=25))
jh_rm_ihpsg13_1p_coldrv1.add(gdstk.Label('ADDR_DEC_O<6>', (4.47,-25.32), layer=30, texttype=25))
jh_rm_ihpsg13_1p_coldrv1.add(gdstk.Label('ADDR_DEC_O<4>', (4.47,-26.34), layer=30, texttype=25))
jh_rm_ihpsg13_1p_coldrv1.add(gdstk.Label('ADDR_DEC_O<7>', (4.47,-24.81), layer=30, texttype=25))
jh_rm_ihpsg13_1p_coldrv1.add(gdstk.Label('RCLK_O', (4.46,-29.4), layer=30, texttype=25))
jh_rm_ihpsg13_1p_coldrv1.add(gdstk.Label('ADDR_DEC_O<5>', (4.47,-25.83), layer=30, texttype=25))
jh_rm_ihpsg13_1p_coldrv1.add(gdstk.Label('DCLK_O', (4.46,-32.4), layer=30, texttype=25))
jh_rm_ihpsg13_1p_coldrv1.add(gdstk.Label('WCLK_O', (4.46,-28.89), layer=30, texttype=25))

lib.write_gds('JH_RM_IHPSG13_1P_COLDRV13X4.gds')
